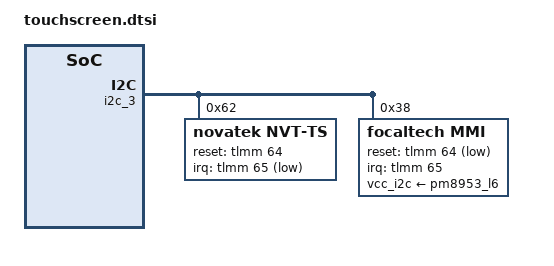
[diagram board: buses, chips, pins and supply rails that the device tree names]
/* Copyright (c) 2018, Motorola Mobility Inc. All rights reserved.
 *
 * This program is free software; you can redistribute it and/or modify
 * it under the terms of the GNU General Public License version 2 and
 * only version 2 as published by the Free Software Foundation.
 *
 * This program is distributed in the hope that it will be useful,
 * but WITHOUT ANY WARRANTY; without even the implied warranty of
 * MERCHANTABILITY or FITNESS FOR A PARTICULAR PURPOSE.  See the
 * GNU General Public License for more details.
 */

&i2c_3 {
	status = "ok";
	pinctrl-names = "i2c_active", "i2c_sleep";
	pinctrl-0 = <&i2c_3_active>;
	pinctrl-1 = <&i2c_3_sleep>;

	novatek@62 {
		compatible = "novatek,NVT-ts";
		reg = <0x62>;
		status = "ok";
		novatek,reset-gpio = <&tlmm 64 0x00>;
		novatek,irq-gpio = <&tlmm 65 0x2001>;
		novatek,def-max-resolution = <720 1520>;
	};

	focaltech@38 {
		compatible = "focaltech,mmi";
		reg = <0x38>;
		interrupt-parent = <&tlmm>;
		interrupts = <65 0x02>;
		vcc_i2c-supply = <&pm8953_l6>;
		pinctrl-names = "pmx_ts_active","pmx_ts_suspend","pmx_ts_release";
		pinctrl-0 = <&ts_int_active &ts_reset_active>;
		pinctrl-1 = <&ts_int_suspend &ts_reset_suspend>;
		pinctrl-2 = <&ts_release>;
		focaltech,name = "ft8006u";
		focaltech,family-id = <0xf0>;
		focaltech,reset-gpio = <&tlmm 64 0x01>;
		focaltech,irq-gpio = <&tlmm 65 0x02>;
		focaltech,display-coords = <0 0 720 1520>;
		focaltech,max-touch-number = <10>;
		focaltech,no-force-update;
		focaltech,i2c-pull-up;
		focaltech,group-id = <1>;
		focaltech,hard-reset-delay-ms = <20>;
		focaltech,soft-reset-delay-ms = <200>;
		focaltech,num-max-touches = <10>;
		focaltech,fw-delay-aa-ms = <30>;
		focaltech,fw-delay-55-ms = <30>;
		focaltech,fw-upgrade-id1 = <0x79>;
		focaltech,fw-upgrade-id2 = <0x08>;
		focaltech,fw-delay-readid-ms = <10>;
		focaltech,fw-delay-era-flsh-ms = <2000>;
		focaltech,fw-auto-cal;
		focaltech,resume-in-workqueue;
		focaltech,ignore-id-check;
	};
};
